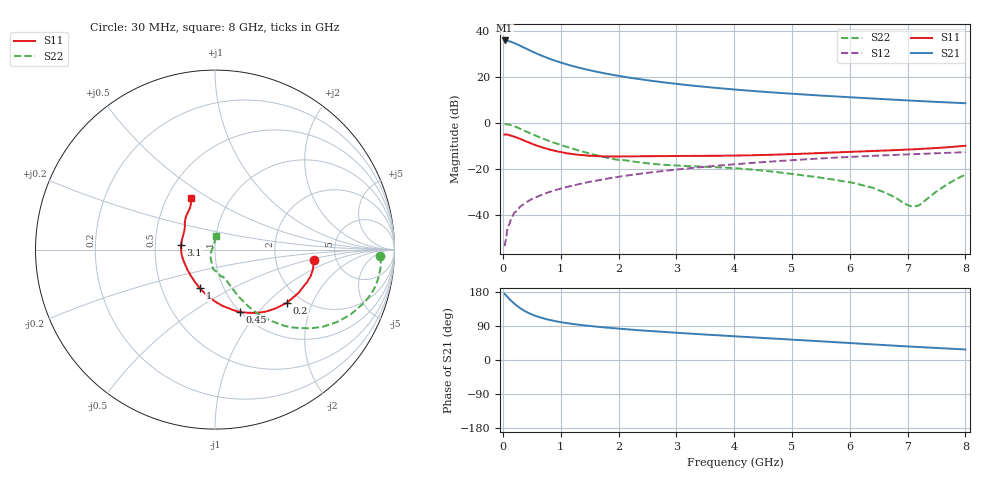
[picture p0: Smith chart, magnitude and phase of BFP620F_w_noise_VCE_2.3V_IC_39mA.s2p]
! Infineon Technologies  Discrete & RF Semiconductors
! BFP620F
! VCE =  2.3 V,  IC =  39 mA
! Common Emitter S-Parameters:  Dec 2014
# GHz  S  MA  R  50
!  f  S11  S21  S12  S22
! GHz  MAG  ANG  MAG  ANG  MAG  ANG  MAG  ANG
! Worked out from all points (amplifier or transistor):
!   95 points, 30 MHz to 8 GHz, reference 50 ohm
!   highest |S21| = 35.7 dB at 30 MHz (marker M1)
!   |S21| within 3 dB of that: start of sweep to 356.5 MHz
!   unconditionally stable (mu >= 1): 2.128 GHz to end of sweep
!   at 300 MHz: K = 0.49, MSG = 34.9 dB, |S12| = -36.4 dB
!   at 3.3 GHz: K = 1.03, MAG = 16.7 dB, |S12| = -19.6 dB
!   at 8 GHz: K = 1.06, MAG = 9.2 dB, |S12| = -12.8 dB
!   lowest NFmin = 1.34 dB at 450 MHz
!   S11 on the Smith chart (normalised r, x): 30 MHz: 3.39, -0.57; 200 MHz: 1.68, -1.32; 450 MHz: 1.00, -0.81; 1 GHz: 0.77, -0.35; 3.1 GHz: 0.68, +0.04; 8 GHz: 0.66, +0.42
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0.03  0.5549 -6.0  61.15 174.8  0.0021 55.6  0.9224 -2.3
0.08  0.5536 -15.5  60.18 166.3  0.0048 78.6  0.9238 -10.0
0.12  0.5334 -23.0  58.16 159.8  0.0067 74.1  0.9041 -15.8
0.15  0.5219 -28.1  56.59 155.5  0.0087 74.0  0.8814 -19.7
0.2  0.4981 -36.4  53.42 148.5  0.0112 71.4  0.8376 -25.6
0.25  0.4719 -43.8  50.19 142.2  0.0126 72.4  0.7896 -30.8
0.3  0.4463 -50.8  46.92 136.7  0.0152 69.1  0.7406 -35.4
0.35  0.4192 -57.3  43.68 131.8  0.0168 69.6  0.6935 -39.2
0.45  0.3743 -68.3  38.05 123.7  0.0203 68.8  0.609 -45.4
0.5  0.3515 -73.3  35.52 120.3  0.0221 68.0  0.5711 -47.9
0.6  0.3157 -82.6  31.18 114.5  0.0251 68.2  0.5035 -51.9
0.7  0.2872 -90.6  27.66 109.9  0.0282 67.9  0.4493 -55.2
0.8  0.2648 -98.1  24.72 106.0  0.0313 68.0  0.4029 -57.6
1  0.2318 -111.4  20.3 99.9  0.0372 67.9  0.3304 -61.3
1.4  0.1979 -133.7  14.79 91.5  0.0493 67.3  0.2333 -66.2
2  0.1855 -159.5  10.44 82.8  0.0672 65.7  0.1562 -73.9
2.7  0.189 -179.2  7.764 75.0  0.0877 62.3  0.1248 -85.3
3.1  0.191 172.2  6.773 71.0  0.0994 60.3  0.1163 -90.2
4.1  0.1951 154.5  5.158 61.7  0.1284 54.6  0.1013 -97.2
5.4  0.2183 140.3  3.968 50.2  0.1655 46.3  0.0672 -108.3
6.7  0.2526 127.8  3.202 38.5  0.1987 37.4  0.027 -145.2
8  0.317 115.2  2.659 27.7  0.2302 28.7  0.0749 86.8
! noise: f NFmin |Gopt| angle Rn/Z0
0.45  1.34  0.14  -173  0.16
0.9  1.36  0.14  -172  0.13
1.5  1.37  0.19  -151  0.11
1.8  1.38  0.19  -151  0.12
1.9  1.39  0.19  -150  0.12
2.4  1.41  0.2  214  0.14
3.5  1.47  0.2  220  0.17
5.5  1.61  0.26  246  0.16
6  1.65  0.27  261  0.2
